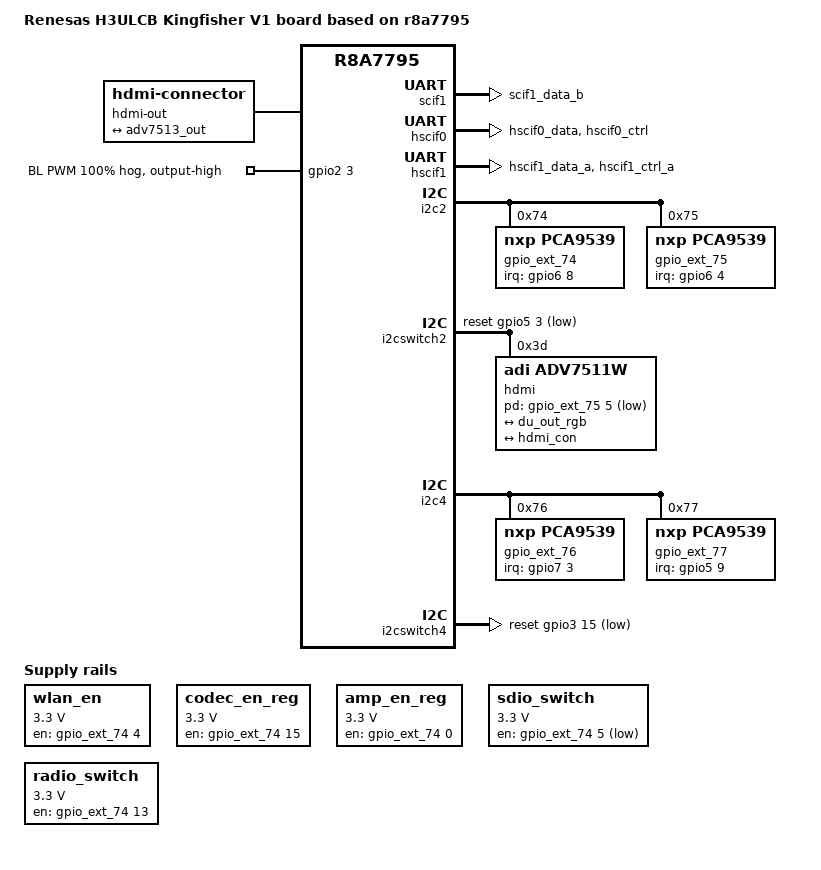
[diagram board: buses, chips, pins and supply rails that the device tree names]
/*
 * Device Tree Source for the H3ULCB Kingfisher V1 board on r8a7795 ES1.x
 *
 * Copyright (C) 2017 Renesas Electronics Corp.
 * Copyright (C) 2017 Cogent Embedded, Inc.
 *
 * This file is licensed under the terms of the GNU General Public License
 * version 2.  This program is licensed "as is" without any warranty of any
 * kind, whether express or implied.
 */

#include "r8a7795-es1-h3ulcb-kf-v0.dts"

/ {
	model = "Renesas H3ULCB Kingfisher V1 board based on r8a7795";

	aliases {
		serial1 = &hscif0;
		serial2 = &hscif1;
		serial3 = &scif1;
	};

	wlan_en: regulator@4 {
		compatible = "regulator-fixed";
		regulator-name = "wlan-en-regulator";

		regulator-min-microvolt = <3300000>;
		regulator-max-microvolt = <3300000>;

		gpio = <&gpio_ext_74 4 GPIO_ACTIVE_HIGH>;
		enable-active-high;
	};

	codec_en_reg: regulator@6 {
		compatible = "regulator-fixed";
		regulator-name = "codec-en-regulator";
		regulator-min-microvolt = <3300000>;
		regulator-max-microvolt = <3300000>;

		gpio = <&gpio_ext_74 15 0>;

		/* delay - CHECK */
		startup-delay-us = <70000>;
		enable-active-high;
	};

	amp_en_reg: regulator@7 {
		compatible = "regulator-fixed";
		regulator-name = "amp-en-regulator";
		regulator-min-microvolt = <3300000>;
		regulator-max-microvolt = <3300000>;

		gpio = <&gpio_ext_74 0 0>;

		startup-delay-us = <0>;
		enable-active-high;
	};

	/delete-node/regulator@8;

	sdio_switch: regulator@9 {
		compatible = "regulator-fixed";
		regulator-name = "wifi_on";
		regulator-min-microvolt = <3300000>;
		regulator-max-microvolt = <3300000>;
		gpio = <&gpio_ext_74 5 0>;
		enable-active-low;
		regulator-always-on;
	};

	/delete-node/regulator@10;

	radio_switch: regulator@11 {
		compatible = "regulator-fixed";
		regulator-name = "radio_on";
		regulator-min-microvolt = <3300000>;
		regulator-max-microvolt = <3300000>;
		gpio = <&gpio_ext_74 13 GPIO_ACTIVE_HIGH>;
		enable-active-high;
		regulator-always-on;
	};

	kim {
		shutdown-gpios = <&gpio_ext_74 3 GPIO_ACTIVE_HIGH>;
	};

	hdmi-out {
		compatible = "hdmi-connector";
		type = "a";

		port {
			hdmi_con: endpoint {
				remote-endpoint = <&adv7513_out>;
			};
		};
	};
};

&pfc {
	/delete-node/hscif4;

	scif1_pins: scif1 {
		groups = "scif1_data_b";
		function = "scif1";
	};

	hscif0_pins: hscif0 {
		groups = "hscif0_data", "hscif0_ctrl";
		function = "hscif0";
	};

	hscif1_pins: hscif1 {
		groups = "hscif1_data_a", "hscif1_ctrl_a";
		function = "hscif1";
	};

	du_pins: du {
		groups = "du_rgb888", "du_sync", "du_clk_out_0", "du_disp";
		function = "du";
	};
};

&du {
	pinctrl-0 = <&du_pins>;
	pinctrl-names = "default";

	ports {
		port@0 {
			endpoint {
				remote-endpoint = <&adv7513_in>;
			};
		};
	};
};

&gpio0 {
	/delete-node/video_a_irq;
	/delete-node/video_b_irq;
	/delete-node/gpioext_2_20_irq;
};

&gpio1 {
	/delete-node/gpioext_2_21_irq;
	/delete-node/wifi_irq;
};

&gpio2 {
	bl_pwm {
		gpio-hog;
		gpios = <3 GPIO_ACTIVE_HIGH>;
		output-high;
		line-name = "BL PWM 100%";
	};
};

&gpio5 {
	/delete-node/touch_irq;
	/delete-node/bt_strap;
};

&gpio7 {
	/delete-node/gpioext_2_21_irq;
};

&scif1 {
	pinctrl-0 = <&scif1_pins>;
	pinctrl-names = "default";

	status = "okay";
};

&hscif0 {
	pinctrl-0 = <&hscif0_pins>;
	pinctrl-names = "default";
	uart-has-rtscts;

	status = "okay";
};

&hscif1 {
	pinctrl-0 = <&hscif1_pins>;
	pinctrl-names = "default";

	status = "okay";
};

&hscif4 {
	/delete-property/pinctrl-0;
	/delete-property/pinctrl-names;

	status = "disabled";
};

&i2c2 {
	/delete-node/pca9535@20;
	/delete-node/pca9535@21;

	gpio_ext_74: pca9539@74 {
		compatible = "nxp,pca9539";
		reg = <0x74>;
		gpio-controller;
		#gpio-cells = <2>;
		interrupt-controller;
		interrupt-parent = <&gpio6>;
		interrupts = <8 IRQ_TYPE_EDGE_FALLING>;

		hub_pwen {
			gpio-hog;
			gpios = <6 GPIO_ACTIVE_HIGH>;
			output-high;
			line-name = "HUB pwen";
		};
		hub_rst {
			gpio-hog;
			gpios = <7 GPIO_ACTIVE_HIGH>;
			output-high;
			line-name = "HUB rst";
		};
		otg_offvbus {
			gpio-hog;
			gpios = <8 GPIO_ACTIVE_HIGH>;
			output-low;
			line-name = "OTG off VBUSn";
		};
		otg_extlpn {
			gpio-hog;
			gpios = <9 GPIO_ACTIVE_HIGH>;
			output-high;
			line-name = "OTG EXTLPn";
		};
		otg_stat1 {
			gpio-hog;
			gpios = <10 GPIO_ACTIVE_HIGH>;
			input;
			line-name = "OTG Stat1";
		};
		otg_stat2 {
			gpio-hog;
			gpios = <11 GPIO_ACTIVE_HIGH>;
			input;
			line-name = "OTG Stat2";
		};
	};

	gpio_ext_75: pca9539@75 {
		compatible = "nxp,pca9539";
		reg = <0x75>;
		gpio-controller;
		#gpio-cells = <2>;
		interrupt-controller;
		interrupt-parent = <&gpio6>;
		interrupts = <4 IRQ_TYPE_EDGE_FALLING>;

		gps_rst {
			gpio-hog;
			gpios = <6 GPIO_ACTIVE_HIGH>;
			output-high;
			line-name = "GPS rst";
		};
		fpdl_shdn {
			gpio-hog;
			gpios = <9 GPIO_ACTIVE_HIGH>;
			output-high;
			line-name = "FPDLink shdn";
		};
	};
};

&i2cswitch2 {
	reg = <0x71>;
	reset-gpios= <&gpio5 3 GPIO_ACTIVE_LOW>;

	i2c@4 {
		#address-cells = <1>;
		#size-cells = <0>;
		reg = <4>;

		hdmi@3d {
			compatible = "adi,adv7511w";
			reg = <0x3d>;
//			interrupt-parent = <&gpio2>;
//			interrupts = <0 IRQ_TYPE_EDGE_BOTH>;
			pd-gpios = <&gpio_ext_75 5 GPIO_ACTIVE_LOW>;

			adi,input-depth = <8>;
			adi,input-colorspace = "rgb";
			adi,input-clock = "1x";
			adi,input-style = <1>;
			adi,input-justification = "evenly";
			adi,clock-delay = <1200>;
			adi,clock-max-rate = <100000>;

			ports {
				#address-cells = <1>;
				#size-cells = <0>;

				port@0 {
					reg = <0>;
					adv7513_in: endpoint {
						remote-endpoint = <&du_out_rgb>;
					};
				};

				port@1 {
					reg = <1>;
					adv7513_out: endpoint {
						remote-endpoint = <&hdmi_con>;
					};
				};
			};
		};
	};
};

&i2c4 {
	/delete-node/pca9535@21;

	gpio_ext_76: pca9539@76 {
		compatible = "nxp,pca9539";
		reg = <0x76>;
		gpio-controller;
		#gpio-cells = <2>;
		interrupt-controller;
		interrupt-parent = <&gpio7>;
		interrupts = <3 IRQ_TYPE_EDGE_FALLING>;

		port_b_a0 {
			gpio-hog;
			gpios = <0 GPIO_ACTIVE_HIGH>;
			output-low;
			line-name = "Video-B A0";
		};
		port_b_a1 {
			gpio-hog;
			gpios = <1 GPIO_ACTIVE_HIGH>;
			output-high;
			line-name = "Video-B A1";
		};
		port_a_a0 {
			gpio-hog;
			gpios = <2 GPIO_ACTIVE_HIGH>;
			output-low;
			line-name = "Video-A A0";
		};
		port_a_a1 {
			gpio-hog;
			gpios = <3 GPIO_ACTIVE_HIGH>;
			output-high;
			line-name = "Video-A A1";
		};
		cmos_pwdn {
			gpio-hog;
			gpios = <8 GPIO_ACTIVE_HIGH>;
			output-high;
			line-name = "CMOS PWDN";
		};
		cmos_rst {
			gpio-hog;
			gpios = <9 GPIO_ACTIVE_HIGH>;
			output-high;
			line-name = "CMOS RST";
		};
		/* pin 12 - CAM_CLK */
		rpi_cam_io_1 {
			gpio-hog;
			gpios = <10 GPIO_ACTIVE_HIGH>;
			output-high;
			line-name = "RaspB_IO1";
		};
		/* pin 11 - CAM_GPIO - assume pwdn */
		rpi_cam_io_0 {
			gpio-hog;
			gpios = <11 GPIO_ACTIVE_HIGH>;
			output-high;
			line-name = "RaspB_IO0";
		};
		sam_rst {
			gpio-hog;
			gpios = <4 GPIO_ACTIVE_HIGH>;
			output-high;
			line-name = "SAM RST";
		};
		sam_pwr {
			gpio-hog;
			gpios = <5 GPIO_ACTIVE_HIGH>;
			output-low;
			line-name = "SAM PWR";
		};
		/* 0 - FPDLink output, 1 - LVDS output */
		lvds_vs_fpdl {
			gpio-hog;
			gpios = <14 GPIO_ACTIVE_HIGH>;
			output-high;
			line-name = "LVDS switch";
		};
	};

	gpio_ext_77: pca9539@77 {
		compatible = "nxp,pca9539";
		reg = <0x77>;
		gpio-controller;
		#gpio-cells = <2>;
		interrupt-controller;
		interrupt-parent = <&gpio5>;
		interrupts = <9 IRQ_TYPE_EDGE_FALLING>;

		mpcie_wake {
			gpio-hog;
			gpios = <0 GPIO_ACTIVE_HIGH>;
			output-low;
			line-name = "mPCIe WAKE#";
		};
		mpcie_wdisable {
			gpio-hog;
			gpios = <1 GPIO_ACTIVE_HIGH>;
			output-high;
			line-name = "mPCIe W_DISABLE";
		};
		mpcie_clreq {
			gpio-hog;
			gpios = <2 GPIO_ACTIVE_HIGH>;
			input;
			line-name = "mPCIe CLKREQ#";
		};
		mpcie_ovc {
			gpio-hog;
			gpios = <3 GPIO_ACTIVE_HIGH>;
			input;
			line-name = "mPCIe OVC";
		};
	};
};

&i2cswitch4 {
	reg = <0x71>;
	reset-gpios= <&gpio3 15 GPIO_ACTIVE_LOW>;
};

&wlcore {
	interrupts = <25 IRQ_TYPE_EDGE_FALLING>;
};
